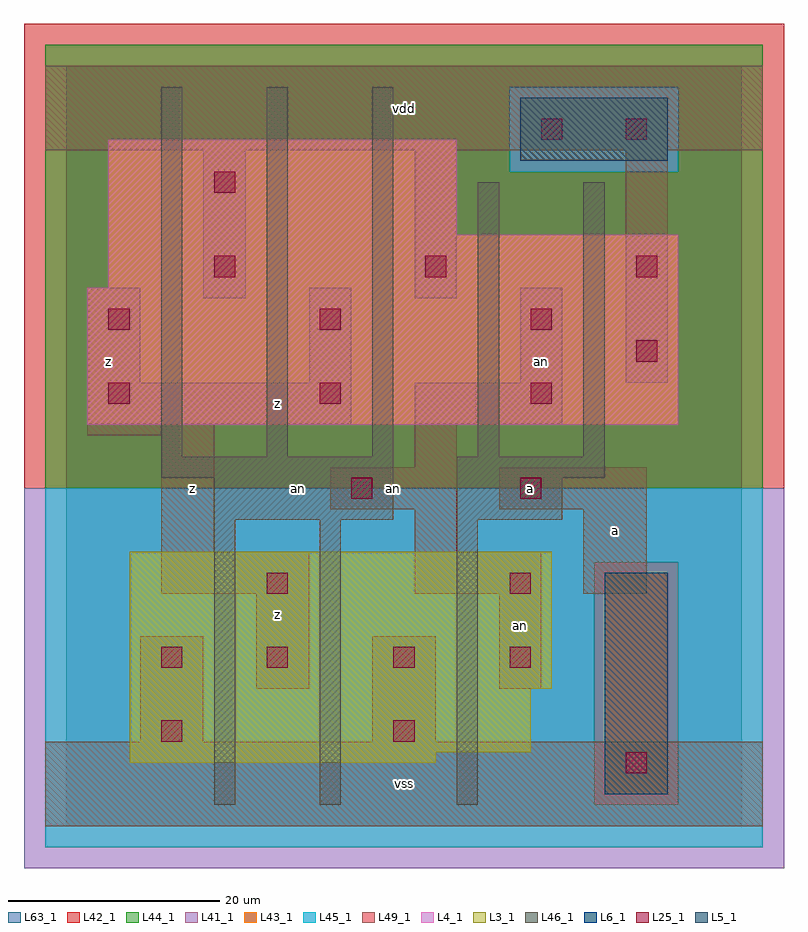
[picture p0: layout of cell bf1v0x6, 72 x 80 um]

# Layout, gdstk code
import gdstk
lib = gdstk.Library(unit=1e-6, precision=1e-09)
def R(c, l, rs):  # rectangles x0, y0, x1, y1
    for r in rs: c.add(gdstk.rectangle(r[:2], r[2:], *l))
def A(c, l, x, y, w, h, nx, ny, dx, dy):  # array of equal rectangles
    R(c, l, [(x+i*dx, y+j*dy, x+i*dx+w, y+j*dy+h) for i in range(nx) for j in range(ny)])
L3_1 = (3, 1)
L4_1 = (4, 1)
L5_1 = (5, 1)
L6_1 = (6, 1)
L25_1 = (25, 1)
L41_1 = (41, 1)
L42_1 = (42, 1)
L43_1 = (43, 1)
L44_1 = (44, 1)
L45_1 = (45, 1)
L46_1 = (46, 1)
L49_1 = (49, 1)
L63_1 = (63, 1)

bf1v0x6 = lib.new_cell('bf1v0x6')
R(bf1v0x6, L3_1, [(6,6,35,7), (6,7,44,13), (6,13,46,26)])
R(bf1v0x6, L4_1, [(2,38,58,51), (4,51,58,56), (4,56,37,65)])
R(bf1v0x6, L5_1, [(43,63,57,69)])
R(bf1v0x6, L6_1, [(51,3,57,24), (51,3,57,24)])
A(bf1v0x6, L25_1, 4, 40, 2, 2, 3, 2, 20, 7)
A(bf1v0x6, L25_1, 14, 52, 2, 2, 3, 1, 20, 0)
R(bf1v0x6, L25_1, [(53,5,55,7), (9,8,11,10), (31,8,33,10), (9,15,11,17), (19,15,21,17), (31,15,33,17), (42,15,44,17), (19,22,21,24), (42,22,44,24), (27,31,29,33), (43,31,45,33), (54,44,56,46), (14,60,16,62), (45,65,47,67), (53,65,55,67)])
R(bf1v0x6, L41_1, [(-4,-4,68,32)])
R(bf1v0x6, L42_1, [(-4,32,68,76)])
R(bf1v0x6, L43_1, [(51,3,57,24), (6,6,35,7), (6,7,44,13), (6,13,46,26), (2,38,58,51), (4,51,58,56), (4,56,37,65), (43,63,57,69)])
R(bf1v0x6, L44_1, [(50,2,58,25), (-2,32,66,62), (-2,62,42,70), (58,62,66,70), (-2,70,66,74)])
R(bf1v0x6, L45_1, [(-2,-2,66,2), (-2,2,50,25), (58,2,66,25), (-2,25,66,32), (42,62,58,70)])
A(bf1v0x6, L46_1, 9, 35, 2, 35, 3, 1, 10, 0)
R(bf1v0x6, L46_1, [(14,2,16,29), (24,2,26,29), (37,2,39,29), (14,29,31,33), (37,29,47,33), (9,33,31,35), (37,33,51,35), (39,35,41,61), (49,35,51,61)])
R(bf1v0x6, L49_1, [(-2,0,66,8), (7,8,13,18), (29,8,35,18), (18,13,23,22), (41,13,45,22), (9,22,23,26), (33,22,45,26), (49,22,55,30), (9,26,14,37), (33,26,37,30), (25,30,37,34), (41,30,55,34), (33,34,37,38), (2,37,14,38), (2,38,27,42), (33,38,47,42), (2,42,7,51), (23,42,27,51), (43,42,47,51), (53,42,57,64), (13,50,17,64), (33,50,37,64), (-2,64,66,72)])
R(bf1v0x6, L63_1, [(0,0,64,72)])
bf1v0x6.add(gdstk.Label('an', (22,32), layer=46, texttype=1))
bf1v0x6.add(gdstk.Label('z', (12,32), layer=49, texttype=1))
bf1v0x6.add(gdstk.Label('z', (4,44), layer=49, texttype=1))
bf1v0x6.add(gdstk.Label('z', (20,20), layer=49, texttype=1))
bf1v0x6.add(gdstk.Label('z', (20,40), layer=49, texttype=1))
bf1v0x6.add(gdstk.Label('vss', (32,4), layer=49, texttype=1))
bf1v0x6.add(gdstk.Label('an', (43,19), layer=49, texttype=1))
bf1v0x6.add(gdstk.Label('an', (31,32), layer=49, texttype=1))
bf1v0x6.add(gdstk.Label('a', (44,32), layer=49, texttype=1))
bf1v0x6.add(gdstk.Label('an', (45,44), layer=49, texttype=1))
bf1v0x6.add(gdstk.Label('vdd', (32,68), layer=49, texttype=1))
bf1v0x6.add(gdstk.Label('a', (52,28), layer=49, texttype=1))

lib.write_gds('bf1v0x6.gds')
